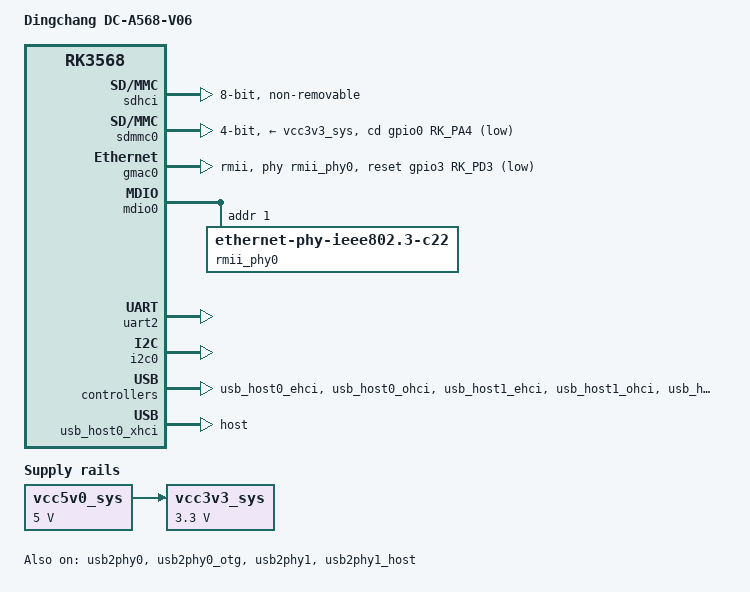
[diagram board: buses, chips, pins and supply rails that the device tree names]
// SPDX-License-Identifier: (GPL-2.0+ OR MIT)
/*
 * Device tree for DC-A568-V06 board
 * Dingchang Electronics RK3568 development board
 */

/dts-v1/;
#include <dt-bindings/gpio/gpio.h>
#include <dt-bindings/pinctrl/rockchip.h>
#include "rk3568.dtsi"

/ {
	model = "Dingchang DC-A568-V06";
	compatible = "dingchang,dc-a568", "rockchip,rk3568";

	aliases {
		ethernet0 = &gmac0;
		mmc0 = &sdhci;
		mmc1 = &sdmmc0;
		serial2 = &uart2;
	};

	chosen {
		stdout-path = "serial2:1500000n8";
	};

	/* 5V power rail */
	vcc5v0_sys: vcc5v0-sys {
		compatible = "regulator-fixed";
		regulator-name = "vcc5v0_sys";
		regulator-always-on;
		regulator-boot-on;
		regulator-min-microvolt = <5000000>;
		regulator-max-microvolt = <5000000>;
	};

	/* 3.3V power rail */
	vcc3v3_sys: vcc3v3-sys {
		compatible = "regulator-fixed";
		regulator-name = "vcc3v3_sys";
		regulator-always-on;
		regulator-boot-on;
		regulator-min-microvolt = <3300000>;
		regulator-max-microvolt = <3300000>;
		vin-supply = <&vcc5v0_sys>;
	};
};

/* eMMC */
&sdhci {
	bus-width = <8>;
	max-frequency = <200000000>;
	non-removable;
	pinctrl-names = "default";
	pinctrl-0 = <&emmc_bus8 &emmc_clk &emmc_cmd &emmc_datastrobe>;
	status = "okay";
};

/* SD card */
&sdmmc0 {
	bus-width = <4>;
	cap-sd-highspeed;
	cd-gpios = <&gpio0 RK_PA4 GPIO_ACTIVE_LOW>;
	disable-wp;
	pinctrl-names = "default";
	pinctrl-0 = <&sdmmc0_bus4 &sdmmc0_clk &sdmmc0_cmd &sdmmc0_det>;
	sd-uhs-sdr50;
	vmmc-supply = <&vcc3v3_sys>;
	status = "okay";
};

/* Ethernet - RMII mode */
&gmac0 {
	assigned-clocks = <&cru SCLK_GMAC0_RX_TX>, <&cru SCLK_GMAC0>;
	assigned-clock-parents = <&cru SCLK_GMAC0_RMII_SPEED>;
	assigned-clock-rates = <0>, <50000000>;
	clock_in_out = "output";
	phy-handle = <&rmii_phy0>;
	phy-mode = "rmii";
	pinctrl-names = "default";
	pinctrl-0 = <&gmac0_miim
		     &gmac0_rx_bus2
		     &gmac0_tx_bus2
		     &gmac0_clk>;
	snps,reset-gpio = <&gpio3 RK_PD3 GPIO_ACTIVE_LOW>;
	snps,reset-active-low;
	snps,reset-delays-us = <0 20000 100000>;
	status = "okay";
};

&mdio0 {
	rmii_phy0: ethernet-phy@1 {
		compatible = "ethernet-phy-ieee802.3-c22";
		reg = <1>;
	};
};

/* Debug UART */
&uart2 {
	status = "okay";
};

/* I2C for PMIC */
&i2c0 {
	status = "okay";
};

/* USB 2.0 Host */
&usb_host0_ehci {
	status = "okay";
};

&usb_host0_ohci {
	status = "okay";
};

&usb_host1_ehci {
	status = "okay";
};

&usb_host1_ohci {
	status = "okay";
};

/* USB 3.0 */
&usb_host0_xhci {
	dr_mode = "host";
	status = "okay";
};

&usb_host1_xhci {
	status = "okay";
};

/* USB 2.0 OTG for gadget mode */
&usb2phy0 {
	status = "okay";
};

&usb2phy0_otg {
	status = "okay";
};

&usb2phy1 {
	status = "okay";
};

&usb2phy1_host {
	status = "okay";
};
